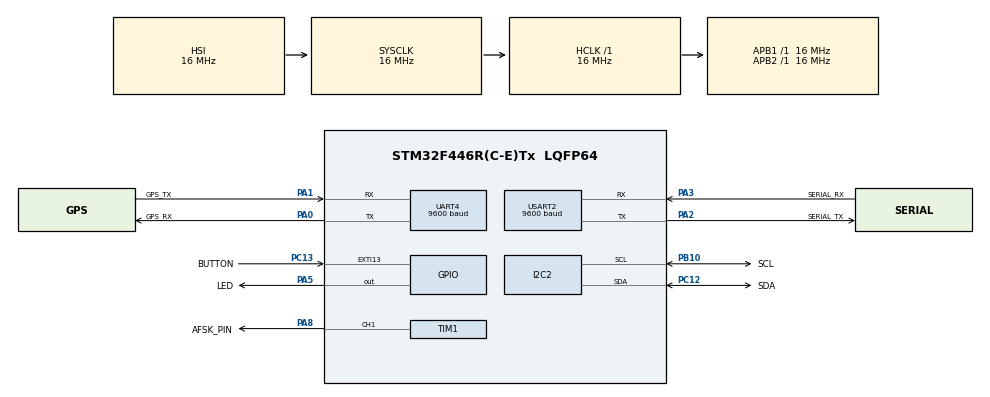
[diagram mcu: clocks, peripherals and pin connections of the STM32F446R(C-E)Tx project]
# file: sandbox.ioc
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Dma.Request0=UART4_RX
Dma.UART4_RX.0.Direction=DMA_PERIPH_TO_MEMORY
Dma.UART4_RX.0.FIFOMode=DMA_FIFOMODE_DISABLE
Dma.UART4_RX.0.Instance=DMA1_Stream2
Dma.UART4_RX.0.MemDataAlignment=DMA_MDATAALIGN_BYTE
Dma.UART4_RX.0.MemInc=DMA_MINC_ENABLE
Dma.UART4_RX.0.Mode=DMA_CIRCULAR
Dma.UART4_RX.0.PeriphDataAlignment=DMA_PDATAALIGN_BYTE
Dma.UART4_RX.0.PeriphInc=DMA_PINC_DISABLE
Dma.UART4_RX.0.Priority=DMA_PRIORITY_VERY_HIGH
Mcu.Family=STM32F4
Mcu.Name=STM32F446R(C-E)Tx
Mcu.Package=LQFP64
NVIC.DMA1_Stream2_IRQn=true\:0\:0\:false\:false\:true\:false\:true\:true
NVIC.PriorityGroup=NVIC_PRIORITYGROUP_0
NVIC.UART4_IRQn=true\:0\:0\:false\:false\:true\:true\:true\:true
PA0-WKUP.GPIO_Label=GPS_RX
PA0-WKUP.Mode=Asynchronous
PA0-WKUP.Signal=UART4_TX
PA1.GPIO_Label=GPS_TX
PA1.Mode=Asynchronous
PA1.Signal=UART4_RX
PA13.GPIO_Label=SWDIO
PA13.Mode=Serial_Wire
PA13.Signal=SYS_JTMS-SWDIO
PA14.GPIO_Label=SWCLK
PA14.Mode=Serial_Wire
PA14.Signal=SYS_JTCK-SWCLK
PA2.GPIO_Label=SERIAL_TX
PA2.Mode=Asynchronous
PA2.Signal=USART2_TX
PA3.GPIO_Label=SERIAL_RX
PA3.Mode=Asynchronous
PA3.Signal=USART2_RX
PA5.GPIO_Label=LED
PA5.Signal=GPIO_Output
PA8.GPIO_Label=AFSK_PIN
PA8.Signal=S_TIM1_CH1
PB10.GPIO_Label=SCL
PB10.Mode=I2C
PB10.Signal=I2C2_SCL
PC12.GPIO_Label=SDA
PC12.Mode=I2C
PC12.Signal=I2C2_SDA
PC13.GPIO_Label=BUTTON
PC13.GPIO_ModeDefaultEXTI=GPIO_MODE_IT_FALLING
PC13.Signal=GPXTI13
ProjectManager.HeapSize=0x200
ProjectManager.StackSize=0x400
ProjectManager.TargetToolchain=STM32CubeIDE
RCC.AHBFreq_Value=16000000
RCC.APB1Freq_Value=16000000
RCC.APB1TimFreq_Value=16000000
RCC.APB2Freq_Value=16000000
RCC.APB2TimFreq_Value=16000000
RCC.CortexFreq_Value=16000000
RCC.FLatency-AdvancedSettings=FLASH_LATENCY_0
RCC.HCLKFreq_Value=16000000
RCC.HSE_VALUE=8000000
RCC.HSI_VALUE=16000000
RCC.LSE_VALUE=32768
RCC.PLLN=336
RCC.PLLP=RCC_PLLP_DIV4
RCC.SYSCLKFreq_VALUE=16000000
RCC.USBFreq_Value=168000000
RCC.VCOOutputFreq_Value=336000000
SH.S_TIM1_CH1.0=TIM1_CH1,PWM Generation1 CH1
TIM1.Channel-PWM\ Generation1\ CH1=TIM_CHANNEL_1
TIM1.Period=403
UART4.BaudRate=9600
UART4.VirtualMode=Asynchronous
USART2.BaudRate=9600
USART2.VirtualMode=VM_ASYNC
VP_CRC_VS_CRC.Mode=CRC_Activate
board=NUCLEO-F446RE

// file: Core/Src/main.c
/* USER CODE BEGIN Header */
/**
 ******************************************************************************
 * @file           : main.c
 * @brief          : Main program body
 ******************************************************************************
 * @attention
 *
 * Copyright (c) 2022 STMicroelectronics.
 * All rights reserved.
 *
 * This software is licensed under terms that can be found in the LICENSE file
 * in the root directory of this software component.
 * If no LICENSE file comes with this software, it is provided AS-IS.
 *
 ******************************************************************************
 */
/* USER CODE END Header */
#include "main.h"
#include "crc.h"
#include "dma.h"
#include "i2c.h"
#include "tim.h"
#include "usart.h"
#include "gpio.h"

/* USER CODE BEGIN Includes */
#include <string.h>
/* USER CODE END Includes */

/* USER CODE BEGIN PD */
#define RX_BUFFER_SIZE 1024
/* USER CODE END PD */

/* USER CODE BEGIN PV */
uint8_t rx_buffer[RX_BUFFER_SIZE];
uint8_t sentenceA[RX_BUFFER_SIZE] = {0};
uint8_t sentenceB[RX_BUFFER_SIZE] = {0};
uint8_t* data_to_process = sentenceB;
/* USER CODE END PV */

void SystemClock_Config(void);

/* USER CODE BEGIN 0 */
void Log(UART_HandleTypeDef *huart, uint8_t *String, uint16_t Size)
{
	if (HAL_OK != HAL_UART_Transmit(huart, String, Size, 100)){
		Error_Handler();
	}
}
/* USER CODE END 0 */

int main(void)
{

	/* MCU Configuration--------------------------------------------------------*/

	/* Reset of all peripherals, Initializes the Flash interface and the Systick. */
	HAL_Init();

	/* Configure the system clock */
	SystemClock_Config();

	/* Initialize all configured peripherals */
	MX_GPIO_Init();
	MX_DMA_Init();
	MX_CRC_Init();
	MX_I2C2_Init();
	MX_TIM1_Init();
	MX_USART2_UART_Init();
	MX_UART4_Init();

	/* USER CODE BEGIN 2 */
	char* initmsg = "Tsum getsz, jöhet a riz$a:\r\n";
	Log(&huart2, (uint8_t*) initmsg, strlen(initmsg));

	if (HAL_OK != HAL_UARTEx_ReceiveToIdle_DMA(&huart4, rx_buffer, RX_BUFFER_SIZE)){
		Error_Handler();
	}

	/* USER CODE END 2 */

	/* Infinite loop */
	while (1)
	{

	}
}

void SystemClock_Config(void)
{
	RCC_OscInitTypeDef RCC_OscInitStruct = {0};
	RCC_ClkInitTypeDef RCC_ClkInitStruct = {0};

	/** Configure the main internal regulator output voltage
	 */
	__HAL_RCC_PWR_CLK_ENABLE();
	__HAL_PWR_VOLTAGESCALING_CONFIG(PWR_REGULATOR_VOLTAGE_SCALE3);

	/** Initializes the RCC Oscillators according to the specified parameters
	 * in the RCC_OscInitTypeDef structure.
	 */
	RCC_OscInitStruct.OscillatorType = RCC_OSCILLATORTYPE_HSI;
	RCC_OscInitStruct.HSIState = RCC_HSI_ON;
	RCC_OscInitStruct.HSICalibrationValue = RCC_HSICALIBRATION_DEFAULT;
	RCC_OscInitStruct.PLL.PLLState = RCC_PLL_NONE;
	if (HAL_RCC_OscConfig(&RCC_OscInitStruct) != HAL_OK)
	{
		Error_Handler();
	}

	/** Initializes the CPU, AHB and APB buses clocks
	 */
	RCC_ClkInitStruct.ClockType = RCC_CLOCKTYPE_HCLK|RCC_CLOCKTYPE_SYSCLK
			|RCC_CLOCKTYPE_PCLK1|RCC_CLOCKTYPE_PCLK2;
	RCC_ClkInitStruct.SYSCLKSource = RCC_SYSCLKSOURCE_HSI;
	RCC_ClkInitStruct.AHBCLKDivider = RCC_SYSCLK_DIV1;
	RCC_ClkInitStruct.APB1CLKDivider = RCC_HCLK_DIV1;
	RCC_ClkInitStruct.APB2CLKDivider = RCC_HCLK_DIV1;

	if (HAL_RCC_ClockConfig(&RCC_ClkInitStruct, FLASH_LATENCY_0) != HAL_OK)
	{
		Error_Handler();
	}
}

/* USER CODE BEGIN 4 */

void ProcessData(uint16_t size){
	Log(&huart2, data_to_process, size);
	Log(&huart2, (uint8_t*)"\r\n", 3);
}

void BuildSentence(uint16_t next_place, char incoming){
	static uint8_t* sentence_to_build = sentenceA;
	static uint16_t length_count = 0;

	// swap buffer on end of sentence
	if(incoming=='\n'){
		sentence_to_build[next_place] = '\0';
		if(data_to_process==sentenceA){
			data_to_process = sentenceB;
			sentence_to_build = sentenceA;
		}else{
			data_to_process = sentenceA;
			sentence_to_build = sentenceB;
		}
		ProcessData(length_count);
		length_count = 0;
	}else{
		sentence_to_build[next_place] = incoming;
		length_count ++;
	}

}

void HAL_UARTEx_RxEventCallback(UART_HandleTypeDef *huart, uint16_t pos)
{
	//static uint16_t old_pos = 0;
	//uint16_t chars_received = 0;

	if(huart->Instance==UART4){

		/*
		if(pos != old_pos){
			if(pos > old_pos){
				chars_received = pos - old_pos;
				for(uint16_t i=0; i<chars_received; i++){
					BuildSentence(i, rx_buffer[old_pos + i]);
				}
			}else{
				chars_received = RX_BUFFER_SIZE - old_pos;
				for(uint16_t i=0; i<chars_received; i++){
					BuildSentence(i, rx_buffer[old_pos + i]);
				}
				for (uint16_t i = 0; i < pos; i++){
					BuildSentence(chars_received + i, rx_buffer[i]);
				}
			}
		}
		old_pos = pos;*/
		Log(&huart2, (uint8_t*)"PING\r\n", 7);

		/*if (HAL_OK != HAL_UARTEx_ReceiveToIdle_DMA(&huart4, rx_buffer, RX_BUFFER_SIZE)){
			Error_Handler();
		}*/
	}
}
/* USER CODE END 4 */

void Error_Handler(void)
{
	/* USER CODE BEGIN Error_Handler_Debug */
	/* User can add his own implementation to report the HAL error return state */
	__disable_irq();
	while (1)
	{
		HAL_GPIO_TogglePin(LED_GPIO_Port, LED_Pin);
		HAL_Delay(500);
	}
	/* USER CODE END Error_Handler_Debug */
}
